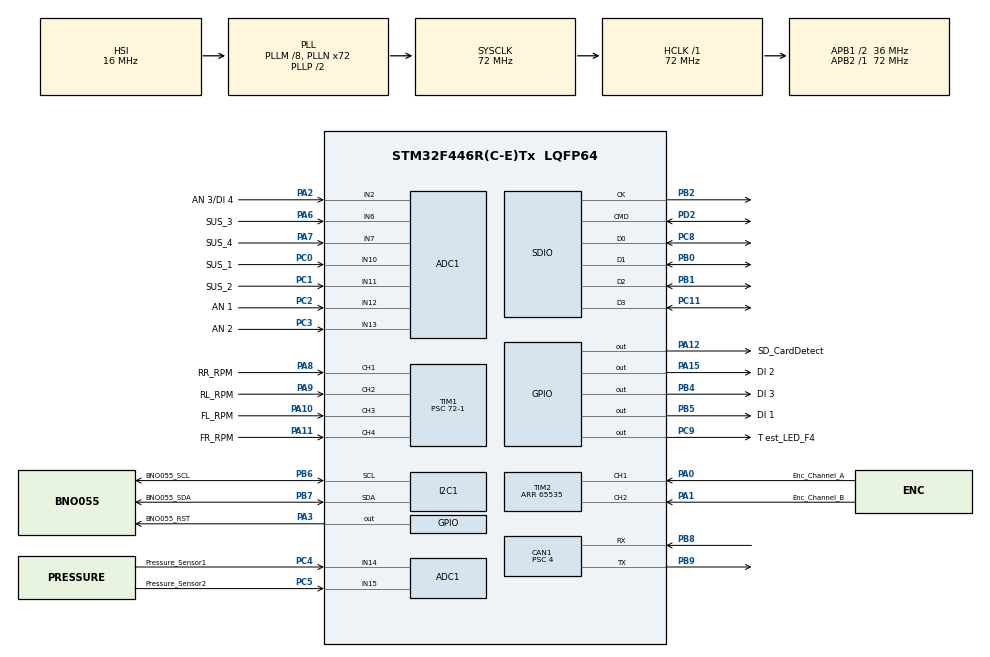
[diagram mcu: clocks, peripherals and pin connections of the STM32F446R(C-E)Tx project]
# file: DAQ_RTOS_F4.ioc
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ADC1.Channel-4\#ChannelRegularConversion=ADC_CHANNEL_10
ADC1.Channel-5\#ChannelRegularConversion=ADC_CHANNEL_11
ADC1.Channel-6\#ChannelRegularConversion=ADC_CHANNEL_6
ADC1.Channel-7\#ChannelRegularConversion=ADC_CHANNEL_7
ADC1.ContinuousConvMode=ENABLE
ADC1.DMAContinuousRequests=ENABLE
ADC1.NbrOfConversion=4
ADC1.NbrOfConversionFlag=1
ADC1.Rank-4\#ChannelRegularConversion=1
ADC1.Rank-5\#ChannelRegularConversion=2
ADC1.Rank-6\#ChannelRegularConversion=3
ADC1.Rank-7\#ChannelRegularConversion=4
ADC1.SamplingTime-4\#ChannelRegularConversion=ADC_SAMPLETIME_112CYCLES
ADC1.SamplingTime-5\#ChannelRegularConversion=ADC_SAMPLETIME_112CYCLES
ADC1.SamplingTime-6\#ChannelRegularConversion=ADC_SAMPLETIME_112CYCLES
ADC1.SamplingTime-7\#ChannelRegularConversion=ADC_SAMPLETIME_112CYCLES
ADC1.master=1
CAN1.BS1=CAN_BS1_15TQ
CAN1.BS2=CAN_BS2_2TQ
CAN1.CalculateBaudRate=500000
CAN1.CalculateTimeBit=2000
CAN1.CalculateTimeQuantum=111.11111111111111
CAN1.Prescaler=4
Dma.ADC1.0.Direction=DMA_PERIPH_TO_MEMORY
Dma.ADC1.0.FIFOMode=DMA_FIFOMODE_DISABLE
Dma.ADC1.0.Instance=DMA2_Stream0
Dma.ADC1.0.MemDataAlignment=DMA_MDATAALIGN_WORD
Dma.ADC1.0.MemInc=DMA_MINC_ENABLE
Dma.ADC1.0.Mode=DMA_CIRCULAR
Dma.ADC1.0.PeriphDataAlignment=DMA_PDATAALIGN_WORD
Dma.ADC1.0.PeriphInc=DMA_PINC_DISABLE
Dma.ADC1.0.Priority=DMA_PRIORITY_LOW
Dma.Request0=ADC1
I2C1.I2C_Mode=I2C_Fast
Mcu.Family=STM32F4
Mcu.Name=STM32F446R(C-E)Tx
Mcu.Package=LQFP64
NVIC.PriorityGroup=NVIC_PRIORITYGROUP_4
NVIC.TIM1_CC_IRQn=true\:11\:0\:true\:false\:true\:true\:true\:true
NVIC.TIM6_DAC_IRQn=true\:15\:0\:false\:false\:true\:false\:true\:true
NVIC.TimeBase=TIM6_DAC_IRQn
NVIC.TimeBaseIP=TIM6
PA0-WKUP.GPIO_Label=Enc_Channel_A
PA0-WKUP.GPIO_PuPd=GPIO_PULLUP
PA0-WKUP.Signal=S_TIM2_CH1_ETR
PA1.GPIO_Label=Enc_Channel_B
PA1.GPIO_PuPd=GPIO_PULLUP
PA1.Signal=S_TIM2_CH2
PA10.GPIO_Label=FL_RPM
PA10.Signal=S_TIM1_CH3
PA11.GPIO_Label=FR_RPM
PA11.Signal=S_TIM1_CH4
PA12.GPIO_Label=SD_CardDetect
PA12.Signal=GPIO_Output
PA13.GPIO_Label=TMS
PA13.Mode=Serial_Wire
PA13.Signal=SYS_JTMS-SWDIO
PA14.GPIO_Label=TCK
PA14.Mode=Serial_Wire
PA14.Signal=SYS_JTCK-SWCLK
PA15.GPIO_Label=DI 2
PA15.Signal=GPIO_Output
PA2.GPIO_Label=AN 3/DI 4
PA2.Signal=ADCx_IN2
PA3.GPIO_Label=BNO055_RST
PA3.Signal=GPIO_Output
PA6.GPIO_Label=SUS_3
PA6.Signal=ADCx_IN6
PA7.GPIO_Label=SUS_4
PA7.Signal=ADCx_IN7
PA8.GPIO_Label=RR_RPM
PA8.Signal=S_TIM1_CH1
PA9.GPIO_Label=RL_RPM
PA9.Signal=S_TIM1_CH2
PB0.Mode=SD_4_bits_Wide_bus
PB0.Signal=SDIO_D1
PB1.Mode=SD_4_bits_Wide_bus
PB1.Signal=SDIO_D2
PB2.Mode=SD_4_bits_Wide_bus
PB2.Signal=SDIO_CK
PB4.GPIO_Label=DI 3
PB4.Signal=GPIO_Output
PB5.GPIO_Label=DI 1
PB5.GPIO_ModeDefaultOutputPP=GPIO_MODE_OUTPUT_PP
PB5.GPIO_PuPd=GPIO_NOPULL
PB5.PinState=GPIO_PIN_SET
PB5.Signal=GPIO_Output
PB6.GPIO_Label=BNO055_SCL
PB6.GPIO_Pu=GPIO_PULLUP
PB6.Mode=I2C
PB6.Signal=I2C1_SCL
PB7.GPIO_Label=BNO055_SDA
PB7.GPIO_Pu=GPIO_PULLUP
PB7.Mode=I2C
PB7.Signal=I2C1_SDA
PB8.Mode=CAN_Activate
PB8.Signal=CAN1_RX
PB9.Mode=CAN_Activate
PB9.Signal=CAN1_TX
PC0.GPIO_Label=SUS_1
PC0.Signal=ADCx_IN10
PC1.GPIO_Label=SUS_2
PC1.Signal=ADCx_IN11
PC11.Mode=SD_4_bits_Wide_bus
PC11.Signal=SDIO_D3
PC14-OSC32_IN.Mode=LSE-External-Oscillator
PC14-OSC32_IN.Signal=RCC_OSC32_IN
PC15-OSC32_OUT.Mode=LSE-External-Oscillator
PC15-OSC32_OUT.Signal=RCC_OSC32_OUT
PC2.GPIO_Label=AN 1
PC2.Signal=ADCx_IN12
PC3.GPIO_Label=AN 2
PC3.Signal=ADCx_IN13
PC4.GPIO_Label=Pressure_Sensor1
PC4.Signal=ADCx_IN14
PC5.GPIO_Label=Pressure_Sensor2
PC5.Signal=ADCx_IN15
PC8.Mode=SD_4_bits_Wide_bus
PC8.Signal=SDIO_D0
PC9.GPIO_Label=T est_LED_F4
PC9.Signal=GPIO_Output
PD2.Mode=SD_4_bits_Wide_bus
PD2.Signal=SDIO_CMD
PH0-OSC_IN.Mode=HSE-External-Oscillator
PH0-OSC_IN.Signal=RCC_OSC_IN
PH1-OSC_OUT.Mode=HSE-External-Oscillator
PH1-OSC_OUT.Signal=RCC_OSC_OUT
ProjectManager.HeapSize=0x2000
ProjectManager.StackSize=0x4000
ProjectManager.TargetToolchain=MDK-ARM V5
RCC.48MHZClocksFreq_Value=84000000
RCC.AHBFreq_Value=72000000
RCC.APB1CLKDivider=RCC_HCLK_DIV2
RCC.APB1Freq_Value=36000000
RCC.APB1TimFreq_Value=72000000
RCC.APB2Freq_Value=72000000
RCC.APB2TimFreq_Value=72000000
RCC.CortexFreq_Value=72000000
RCC.FLatency-AdvancedSettings=FLASH_LATENCY_2
RCC.HCLKFreq_Value=72000000
RCC.HSE_VALUE=8000000
RCC.HSI_VALUE=16000000
RCC.PLLM=8
RCC.PLLN=72
RCC.PLLQ=3
RCC.SYSCLKFreq_VALUE=72000000
RCC.SYSCLKSource=RCC_SYSCLKSOURCE_PLLCLK
RCC.USBFreq_Value=48000000
RCC.VCOOutputFreq_Value=144000000
SDIO.ClockDiv=3
SH.ADCx_IN10.0=ADC1_IN10,IN10
SH.ADCx_IN11.0=ADC1_IN11,IN11
SH.ADCx_IN12.0=ADC1_IN12,IN12
SH.ADCx_IN13.0=ADC1_IN13,IN13
SH.ADCx_IN14.0=ADC1_IN14,IN14
SH.ADCx_IN15.0=ADC1_IN15,IN15
SH.ADCx_IN2.0=ADC1_IN2,IN2
SH.ADCx_IN6.0=ADC1_IN6,IN6
SH.ADCx_IN7.0=ADC1_IN7,IN7
SH.S_TIM1_CH1.0=TIM1_CH1,Input_Capture1_from_TI1
SH.S_TIM1_CH2.0=TIM1_CH2,Input_Capture2_from_TI2
SH.S_TIM1_CH3.0=TIM1_CH3,Input_Capture3_from_TI3
SH.S_TIM1_CH4.0=TIM1_CH4,Input_Capture4_from_TI4
SH.S_TIM2_CH1_ETR.0=TIM2_CH1,Encoder_Interface
SH.S_TIM2_CH2.0=TIM2_CH2,Encoder_Interface
TIM1.Channel-Input_Capture1_from_TI1=TIM_CHANNEL_1
TIM1.Channel-Input_Capture2_from_TI2=TIM_CHANNEL_2
TIM1.Channel-Input_Capture3_from_TI3=TIM_CHANNEL_3
TIM1.Channel-Input_Capture4_from_TI4=TIM_CHANNEL_4
TIM1.Prescaler=72-1
TIM2.AutoReloadPreload=TIM_AUTORELOAD_PRELOAD_ENABLE
TIM2.EncoderMode=TIM_ENCODERMODE_TI12
TIM2.IC1Filter=0
TIM2.IC1Polarity=TIM_ICPOLARITY_FALLING
TIM2.IC2Filter=0
TIM2.IC2Polarity=TIM_ICPOLARITY_FALLING
TIM2.Period=65535
VP_FATFS_VS_SDIO.Mode=SDIO
VP_SYS_VS_tim6.Mode=TIM6
board=NUCLEO-F446RE

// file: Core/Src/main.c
/* USER CODE BEGIN Header */
/**
  ******************************************************************************
  * @file           : main.c
  * @brief          : Main program body
  ******************************************************************************
  * @attention
  *
  * <h2><center>&copy; Copyright (c) 2021 STMicroelectronics.
  * All rights reserved.</center></h2>
  *
  * This software component is licensed by ST under BSD 3-Clause license,
  * the "License"; You may not use this file except in compliance with the
  * License. You may obtain a copy of the License at:
  *                        opensource.org/licenses/BSD-3-Clause
  *
  ******************************************************************************
  */
/* USER CODE END Header */
#include "main.h"
#include "fatfs.h"

/* USER CODE BEGIN Includes */
#include <stdio.h>
#include <stdlib.h>
#include <string.h>
#include "FreeRTOS.h"
#include "task.h"
#include "semphr.h"
#include "queue.h"
#include "timers.h"
#include "event_groups.h"
#include "DataLogging.h"

#include "IndProximity.h"
#include "Adafruit_BNO055.h"
#include "DAQ_CAN.h"
#include "Encoder.h"
#include "DAQ_Tasks.h"

/* USER CODE END Includes */

 ADC_HandleTypeDef hadc1;
DMA_HandleTypeDef hdma_adc1;

CAN_HandleTypeDef hcan1;

I2C_HandleTypeDef hi2c1;

SD_HandleTypeDef hsd;

TIM_HandleTypeDef htim1;
TIM_HandleTypeDef htim2;

void SystemClock_Config(void);
static void MX_GPIO_Init(void);
static void MX_DMA_Init(void);
static void MX_ADC1_Init(void);
static void MX_CAN1_Init(void);
static void MX_I2C1_Init(void);
static void MX_TIM1_Init(void);
static void MX_TIM2_Init(void);
static void MX_SDIO_SD_Init(void);
/* USER CODE BEGIN PFP */
void DataLoggingInit(void);
void DataLoggingMainFucntion(void* ptr);
volatile uint32_t ADC_VALUE = 0;
void IMU_Init(void);
/* USER CODE END PFP */

/* USER CODE BEGIN 0 */
char myPath [15] = "LOG1.TXT\0";
//char str_time_stamp []= "By repeating deletion and write of files, data area is gradually fragmented and it influences write speed.Generally, write speed to a fragmented area is slower than sequential write speed due to flash memory characteristics. In an era when memory cap";
int counter = 1;

/* USER CODE END 0 */

int main(void)
{

  /* MCU Configuration--------------------------------------------------------*/

  /* Reset of all peripherals, Initializes the Flash interface and the Systick. */
  HAL_Init();

  /* Configure the system clock */
  SystemClock_Config();

  /* Initialize all configured peripherals */
  MX_GPIO_Init();
  MX_DMA_Init();
  MX_ADC1_Init();
  MX_CAN1_Init();
  MX_I2C1_Init();
  MX_TIM1_Init();
  MX_TIM2_Init();
  MX_SDIO_SD_Init();
  MX_FATFS_Init();
  /* USER CODE BEGIN 2 */
	IndProximity_Init(&htim1);
	Encoder_Setupt(&htim2);
Vehicle_CreateAllTasks();
//FATFS myFATAFS;
//FIL myFILE;
//UINT testByte;
//FILINFO fno;
   IMU_Init();

//	DAQ_CanInitAllMessages();
   // DataLogging_Init();

	//HAL_TIM_Base_Start(&htim4);

	vTaskStartScheduler();

	HAL_Delay(100);
  /* USER CODE END 2 */

  /* Infinite loop */
  /* USER CODE BEGIN WHILE */
  while (1)
  {
//		if(f_mount (&myFATAFS, SDPath, 1) == FR_OK)
//		{
//
//			//sprintf(str_time_stamp,"%d",counter*2);
////			Prv = HAL_GetTick();
////
////			f_open(&myFILE, myPath,FA_WRITE|FA_OPEN_ALWAYS|FA_READ);
////			f_lseek(&myFILE,f_size(&myFILE));
////			f_puts(str_time_stamp, &myFILE);
////			f_puts("\n", &myFILE);
////			f_close(&myFILE) ;
////			Current = HAL_GetTick();
////			Time = Current - Prv;
////			counter++;
////			HAL_Delay(50);
//
//		}
    /* USER CODE END WHILE */

  }
}

void SystemClock_Config(void)
{
  RCC_OscInitTypeDef RCC_OscInitStruct = {0};
  RCC_ClkInitTypeDef RCC_ClkInitStruct = {0};

  /** Configure the main internal regulator output voltage
  */
  __HAL_RCC_PWR_CLK_ENABLE();
  __HAL_PWR_VOLTAGESCALING_CONFIG(PWR_REGULATOR_VOLTAGE_SCALE3);

  /** Initializes the RCC Oscillators according to the specified parameters
  * in the RCC_OscInitTypeDef structure.
  */
  RCC_OscInitStruct.OscillatorType = RCC_OSCILLATORTYPE_HSI;
  RCC_OscInitStruct.HSIState = RCC_HSI_ON;
  RCC_OscInitStruct.HSICalibrationValue = RCC_HSICALIBRATION_DEFAULT;
  RCC_OscInitStruct.PLL.PLLState = RCC_PLL_ON;
  RCC_OscInitStruct.PLL.PLLSource = RCC_PLLSOURCE_HSI;
  RCC_OscInitStruct.PLL.PLLM = 8;
  RCC_OscInitStruct.PLL.PLLN = 72;
  RCC_OscInitStruct.PLL.PLLP = RCC_PLLP_DIV2;
  RCC_OscInitStruct.PLL.PLLQ = 3;
  RCC_OscInitStruct.PLL.PLLR = 2;
  if (HAL_RCC_OscConfig(&RCC_OscInitStruct) != HAL_OK)
  {
    Error_Handler();
  }

  /** Initializes the CPU, AHB and APB buses clocks
  */
  RCC_ClkInitStruct.ClockType = RCC_CLOCKTYPE_HCLK|RCC_CLOCKTYPE_SYSCLK
                              |RCC_CLOCKTYPE_PCLK1|RCC_CLOCKTYPE_PCLK2;
  RCC_ClkInitStruct.SYSCLKSource = RCC_SYSCLKSOURCE_PLLCLK;
  RCC_ClkInitStruct.AHBCLKDivider = RCC_SYSCLK_DIV1;
  RCC_ClkInitStruct.APB1CLKDivider = RCC_HCLK_DIV2;
  RCC_ClkInitStruct.APB2CLKDivider = RCC_HCLK_DIV1;

  if (HAL_RCC_ClockConfig(&RCC_ClkInitStruct, FLASH_LATENCY_2) != HAL_OK)
  {
    Error_Handler();
  }
}

static void MX_ADC1_Init(void)
{

  ADC_ChannelConfTypeDef sConfig = {0};

  /** Configure the global features of the ADC (Clock, Resolution, Data Alignment and number of conversion)
  */
  hadc1.Instance = ADC1;
  hadc1.Init.ClockPrescaler = ADC_CLOCK_SYNC_PCLK_DIV2;
  hadc1.Init.Resolution = ADC_RESOLUTION_12B;
  hadc1.Init.ScanConvMode = ENABLE;
  hadc1.Init.ContinuousConvMode = ENABLE;
  hadc1.Init.DiscontinuousConvMode = DISABLE;
  hadc1.Init.ExternalTrigConvEdge = ADC_EXTERNALTRIGCONVEDGE_NONE;
  hadc1.Init.ExternalTrigConv = ADC_SOFTWARE_START;
  hadc1.Init.DataAlign = ADC_DATAALIGN_RIGHT;
  hadc1.Init.NbrOfConversion = 4;
  hadc1.Init.DMAContinuousRequests = ENABLE;
  hadc1.Init.EOCSelection = ADC_EOC_SINGLE_CONV;
  if (HAL_ADC_Init(&hadc1) != HAL_OK)
  {
    Error_Handler();
  }

  /** Configure for the selected ADC regular channel its corresponding rank in the sequencer and its sample time.
  */
  sConfig.Channel = ADC_CHANNEL_10;
  sConfig.Rank = 1;
  sConfig.SamplingTime = ADC_SAMPLETIME_112CYCLES;
  if (HAL_ADC_ConfigChannel(&hadc1, &sConfig) != HAL_OK)
  {
    Error_Handler();
  }

  /** Configure for the selected ADC regular channel its corresponding rank in the sequencer and its sample time.
  */
  sConfig.Channel = ADC_CHANNEL_11;
  sConfig.Rank = 2;
  if (HAL_ADC_ConfigChannel(&hadc1, &sConfig) != HAL_OK)
  {
    Error_Handler();
  }

  /** Configure for the selected ADC regular channel its corresponding rank in the sequencer and its sample time.
  */
  sConfig.Channel = ADC_CHANNEL_6;
  sConfig.Rank = 3;
  if (HAL_ADC_ConfigChannel(&hadc1, &sConfig) != HAL_OK)
  {
    Error_Handler();
  }

  /** Configure for the selected ADC regular channel its corresponding rank in the sequencer and its sample time.
  */
  sConfig.Channel = ADC_CHANNEL_7;
  sConfig.Rank = 4;
  if (HAL_ADC_ConfigChannel(&hadc1, &sConfig) != HAL_OK)
  {
    Error_Handler();
  }

}

static void MX_CAN1_Init(void)
{

  hcan1.Instance = CAN1;
  hcan1.Init.Prescaler = 4;
  hcan1.Init.Mode = CAN_MODE_NORMAL;
  hcan1.Init.SyncJumpWidth = CAN_SJW_1TQ;
  hcan1.Init.TimeSeg1 = CAN_BS1_15TQ;
  hcan1.Init.TimeSeg2 = CAN_BS2_2TQ;
  hcan1.Init.TimeTriggeredMode = DISABLE;
  hcan1.Init.AutoBusOff = DISABLE;
  hcan1.Init.AutoWakeUp = DISABLE;
  hcan1.Init.AutoRetransmission = DISABLE;
  hcan1.Init.ReceiveFifoLocked = DISABLE;
  hcan1.Init.TransmitFifoPriority = DISABLE;
  if (HAL_CAN_Init(&hcan1) != HAL_OK)
  {
    Error_Handler();
  }

}

static void MX_I2C1_Init(void)
{

  hi2c1.Instance = I2C1;
  hi2c1.Init.ClockSpeed = 400000;
  hi2c1.Init.DutyCycle = I2C_DUTYCYCLE_2;
  hi2c1.Init.OwnAddress1 = 0;
  hi2c1.Init.AddressingMode = I2C_ADDRESSINGMODE_7BIT;
  hi2c1.Init.DualAddressMode = I2C_DUALADDRESS_DISABLE;
  hi2c1.Init.OwnAddress2 = 0;
  hi2c1.Init.GeneralCallMode = I2C_GENERALCALL_DISABLE;
  hi2c1.Init.NoStretchMode = I2C_NOSTRETCH_DISABLE;
  if (HAL_I2C_Init(&hi2c1) != HAL_OK)
  {
    Error_Handler();
  }

}

static void MX_SDIO_SD_Init(void)
{

  hsd.Instance = SDIO;
  hsd.Init.ClockEdge = SDIO_CLOCK_EDGE_RISING;
  hsd.Init.ClockBypass = SDIO_CLOCK_BYPASS_DISABLE;
  hsd.Init.ClockPowerSave = SDIO_CLOCK_POWER_SAVE_DISABLE;
  hsd.Init.BusWide = SDIO_BUS_WIDE_1B;
  hsd.Init.HardwareFlowControl = SDIO_HARDWARE_FLOW_CONTROL_DISABLE;
  hsd.Init.ClockDiv = 3;

}

static void MX_TIM1_Init(void)
{

  TIM_MasterConfigTypeDef sMasterConfig = {0};
  TIM_IC_InitTypeDef sConfigIC = {0};

  htim1.Instance = TIM1;
  htim1.Init.Prescaler = 72-1;
  htim1.Init.CounterMode = TIM_COUNTERMODE_UP;
  htim1.Init.Period = 65535;
  htim1.Init.ClockDivision = TIM_CLOCKDIVISION_DIV1;
  htim1.Init.RepetitionCounter = 0;
  htim1.Init.AutoReloadPreload = TIM_AUTORELOAD_PRELOAD_DISABLE;
  if (HAL_TIM_IC_Init(&htim1) != HAL_OK)
  {
    Error_Handler();
  }
  sMasterConfig.MasterOutputTrigger = TIM_TRGO_RESET;
  sMasterConfig.MasterSlaveMode = TIM_MASTERSLAVEMODE_DISABLE;
  if (HAL_TIMEx_MasterConfigSynchronization(&htim1, &sMasterConfig) != HAL_OK)
  {
    Error_Handler();
  }
  sConfigIC.ICPolarity = TIM_INPUTCHANNELPOLARITY_RISING;
  sConfigIC.ICSelection = TIM_ICSELECTION_DIRECTTI;
  sConfigIC.ICPrescaler = TIM_ICPSC_DIV1;
  sConfigIC.ICFilter = 0;
  if (HAL_TIM_IC_ConfigChannel(&htim1, &sConfigIC, TIM_CHANNEL_1) != HAL_OK)
  {
    Error_Handler();
  }
  if (HAL_TIM_IC_ConfigChannel(&htim1, &sConfigIC, TIM_CHANNEL_2) != HAL_OK)
  {
    Error_Handler();
  }
  if (HAL_TIM_IC_ConfigChannel(&htim1, &sConfigIC, TIM_CHANNEL_3) != HAL_OK)
  {
    Error_Handler();
  }
  if (HAL_TIM_IC_ConfigChannel(&htim1, &sConfigIC, TIM_CHANNEL_4) != HAL_OK)
  {
    Error_Handler();
  }

}

static void MX_TIM2_Init(void)
{

  TIM_Encoder_InitTypeDef sConfig = {0};
  TIM_MasterConfigTypeDef sMasterConfig = {0};

  htim2.Instance = TIM2;
  htim2.Init.Prescaler = 0;
  htim2.Init.CounterMode = TIM_COUNTERMODE_UP;
  htim2.Init.Period = 65535;
  htim2.Init.ClockDivision = TIM_CLOCKDIVISION_DIV1;
  htim2.Init.AutoReloadPreload = TIM_AUTORELOAD_PRELOAD_ENABLE;
  sConfig.EncoderMode = TIM_ENCODERMODE_TI12;
  sConfig.IC1Polarity = TIM_ICPOLARITY_FALLING;
  sConfig.IC1Selection = TIM_ICSELECTION_DIRECTTI;
  sConfig.IC1Prescaler = TIM_ICPSC_DIV1;
  sConfig.IC1Filter = 0;
  sConfig.IC2Polarity = TIM_ICPOLARITY_FALLING;
  sConfig.IC2Selection = TIM_ICSELECTION_DIRECTTI;
  sConfig.IC2Prescaler = TIM_ICPSC_DIV1;
  sConfig.IC2Filter = 0;
  if (HAL_TIM_Encoder_Init(&htim2, &sConfig) != HAL_OK)
  {
    Error_Handler();
  }
  sMasterConfig.MasterOutputTrigger = TIM_TRGO_RESET;
  sMasterConfig.MasterSlaveMode = TIM_MASTERSLAVEMODE_DISABLE;
  if (HAL_TIMEx_MasterConfigSynchronization(&htim2, &sMasterConfig) != HAL_OK)
  {
    Error_Handler();
  }

}

static void MX_DMA_Init(void)
{

  /* DMA controller clock enable */
  __HAL_RCC_DMA2_CLK_ENABLE();

}

static void MX_GPIO_Init(void)
{
  GPIO_InitTypeDef GPIO_InitStruct = {0};

  /* GPIO Ports Clock Enable */
  __HAL_RCC_GPIOC_CLK_ENABLE();
  __HAL_RCC_GPIOH_CLK_ENABLE();
  __HAL_RCC_GPIOA_CLK_ENABLE();
  __HAL_RCC_GPIOB_CLK_ENABLE();
  __HAL_RCC_GPIOD_CLK_ENABLE();

  /*Configure GPIO pin Output Level */
  HAL_GPIO_WritePin(GPIOA, BNO055_RST_Pin|SD_CardDetect_Pin|DI_2_Pin, GPIO_PIN_RESET);

  /*Configure GPIO pin Output Level */
  HAL_GPIO_WritePin(T_est_LED_F4_GPIO_Port, T_est_LED_F4_Pin, GPIO_PIN_RESET);

  /*Configure GPIO pin Output Level */
  HAL_GPIO_WritePin(DI_3_GPIO_Port, DI_3_Pin, GPIO_PIN_RESET);

  /*Configure GPIO pin Output Level */
  HAL_GPIO_WritePin(DI_1_GPIO_Port, DI_1_Pin, GPIO_PIN_SET);

  /*Configure GPIO pins : BNO055_RST_Pin SD_CardDetect_Pin DI_2_Pin */
  GPIO_InitStruct.Pin = BNO055_RST_Pin|SD_CardDetect_Pin|DI_2_Pin;
  GPIO_InitStruct.Mode = GPIO_MODE_OUTPUT_PP;
  GPIO_InitStruct.Pull = GPIO_NOPULL;
  GPIO_InitStruct.Speed = GPIO_SPEED_FREQ_LOW;
  HAL_GPIO_Init(GPIOA, &GPIO_InitStruct);

  /*Configure GPIO pin : T_est_LED_F4_Pin */
  GPIO_InitStruct.Pin = T_est_LED_F4_Pin;
  GPIO_InitStruct.Mode = GPIO_MODE_OUTPUT_PP;
  GPIO_InitStruct.Pull = GPIO_NOPULL;
  GPIO_InitStruct.Speed = GPIO_SPEED_FREQ_LOW;
  HAL_GPIO_Init(T_est_LED_F4_GPIO_Port, &GPIO_InitStruct);

  /*Configure GPIO pins : DI_3_Pin DI_1_Pin */
  GPIO_InitStruct.Pin = DI_3_Pin|DI_1_Pin;
  GPIO_InitStruct.Mode = GPIO_MODE_OUTPUT_PP;
  GPIO_InitStruct.Pull = GPIO_NOPULL;
  GPIO_InitStruct.Speed = GPIO_SPEED_FREQ_LOW;
  HAL_GPIO_Init(GPIOB, &GPIO_InitStruct);

}

/* USER CODE BEGIN 4 */

void IMU_Init(void)
{
	int8_t temp;

	Adafruit_BNO055_Init(&hi2c1 , -1 ,BNO055_ADDRESS_B);

	Adafruit_BNO055_Begin(OPERATION_MODE_NDOF);

	temp = Adafruit_BNO055_GetTemp();

	Adafruit_BNO055_SetExtCrystalUse(1);

}

/* USER CODE END 4 */

void HAL_TIM_PeriodElapsedCallback(TIM_HandleTypeDef *htim)
{
  if (htim->Instance == TIM6) {
    HAL_IncTick();
  }
}

void Error_Handler(void)
{
  __disable_irq();
  while (1)
  {
  }
}
